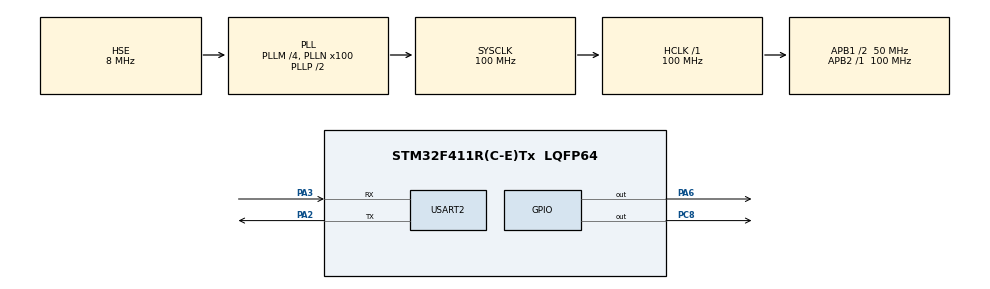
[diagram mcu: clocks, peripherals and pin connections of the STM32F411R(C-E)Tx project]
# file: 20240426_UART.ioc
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Mcu.Family=STM32F4
Mcu.Name=STM32F411R(C-E)Tx
Mcu.Package=LQFP64
NVIC.PriorityGroup=NVIC_PRIORITYGROUP_4
NVIC.USART2_IRQn=true\:0\:0\:false\:false\:true\:true\:true\:true
PA13.Mode=Serial_Wire
PA13.Signal=SYS_JTMS-SWDIO
PA14.Mode=Serial_Wire
PA14.Signal=SYS_JTCK-SWCLK
PA2.Mode=Asynchronous
PA2.Signal=USART2_TX
PA3.Mode=Asynchronous
PA3.Signal=USART2_RX
PA6.Signal=GPIO_Output
PC8.Signal=GPIO_Output
PH0\ -\ OSC_IN.Mode=HSE-External-Oscillator
PH0\ -\ OSC_IN.Signal=RCC_OSC_IN
PH1\ -\ OSC_OUT.Mode=HSE-External-Oscillator
PH1\ -\ OSC_OUT.Signal=RCC_OSC_OUT
ProjectManager.HeapSize=0x200
ProjectManager.StackSize=0x400
ProjectManager.TargetToolchain=STM32CubeIDE
RCC.48MHZClocksFreq_Value=50000000
RCC.AHBFreq_Value=100000000
RCC.APB1CLKDivider=RCC_HCLK_DIV2
RCC.APB1Freq_Value=50000000
RCC.APB1TimFreq_Value=100000000
RCC.APB2Freq_Value=100000000
RCC.APB2TimFreq_Value=100000000
RCC.CortexFreq_Value=100000000
RCC.HCLKFreq_Value=100000000
RCC.HSE_VALUE=8000000
RCC.HSI_VALUE=16000000
RCC.LSE_VALUE=32768
RCC.PLLM=4
RCC.PLLN=100
RCC.PLLSourceVirtual=RCC_PLLSOURCE_HSE
RCC.SYSCLKFreq_VALUE=100000000
RCC.SYSCLKSource=RCC_SYSCLKSOURCE_PLLCLK
RCC.VCOOutputFreq_Value=200000000
USART2.VirtualMode=VM_ASYNC
board=custom

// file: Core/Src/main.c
/* USER CODE BEGIN Header */
/**
  ******************************************************************************
  * @file           : main.c
  * @brief          : Main program body
  ******************************************************************************
  * @attention
  *
  * Copyright (c) 2024 STMicroelectronics.
  * All rights reserved.
  *
  * This software is licensed under terms that can be found in the LICENSE file
  * in the root directory of this software component.
  * If no LICENSE file comes with this software, it is provided AS-IS.
  *
  ******************************************************************************
  */
/* USER CODE END Header */
#include "main.h"

/* USER CODE BEGIN Includes */
#include <Stdio.h>
#include "../common/queue/queue.h"
/* USER CODE END Includes */

UART_HandleTypeDef huart2;

void SystemClock_Config(void);
static void MX_GPIO_Init(void);
static void MX_USART2_UART_Init(void);

/* USER CODE BEGIN 0 */
int _write(int file, char *ptr, int len)
{
  HAL_UART_Transmit(&huart2, (uint8_t *)ptr, len, 1000);
  return len;
}

uint8_t rcvData;
que_t uart2RxQue;

uint8_t rxData;

void HAL_UART_RxCpltCallback(UART_HandleTypeDef *huart){
	if (huart->Instance == USART2){
		enQue(&uart2RxQue, rcvData);
		HAL_UART_Transmit(huart, &rcvData, 1, 1000);
		HAL_UART_Receive_IT(&huart2, &rcvData, 1);
	}
}
/* USER CODE END 0 */

int main(void)
{

  /* MCU Configuration--------------------------------------------------------*/

  /* Reset of all peripherals, Initializes the Flash interface and the Systick. */
  HAL_Init();

  /* Configure the system clock */
  SystemClock_Config();

  /* Initialize all configured peripherals */
  MX_GPIO_Init();
  MX_USART2_UART_Init();
  /* USER CODE BEGIN 2 */
  printf("Hello world!\n");

  HAL_UART_Receive_IT(&huart2, &rxData, 1);
  que_init(&uart2RxQue);

  /* USER CODE END 2 */

  /* Infinite loop */
  /* USER CODE BEGIN WHILE */
  while (1)
  {

	  rxData = deQue(&uart2RxQue);
	  HAL_UART_Receive(&huart2, &rxData, 1, 0xffffffff);
	  if(rxData == '1'){
		  printf("Device1 run! \n");
		  //rcvData = 0;
	  }else if(rxData == '2'){
		  printf("Device1 stop! \n");
		  //rcvData = 0;
	  }
	  HAL_GPIO_TogglePin(GPIOC, GPIO_PIN_8);
	  HAL_Delay(300);
    /* USER CODE END WHILE */

  }
}

void SystemClock_Config(void)
{
  RCC_OscInitTypeDef RCC_OscInitStruct = {0};
  RCC_ClkInitTypeDef RCC_ClkInitStruct = {0};

  /** Configure the main internal regulator output voltage
  */
  __HAL_RCC_PWR_CLK_ENABLE();
  __HAL_PWR_VOLTAGESCALING_CONFIG(PWR_REGULATOR_VOLTAGE_SCALE1);

  /** Initializes the RCC Oscillators according to the specified parameters
  * in the RCC_OscInitTypeDef structure.
  */
  RCC_OscInitStruct.OscillatorType = RCC_OSCILLATORTYPE_HSE;
  RCC_OscInitStruct.HSEState = RCC_HSE_ON;
  RCC_OscInitStruct.PLL.PLLState = RCC_PLL_ON;
  RCC_OscInitStruct.PLL.PLLSource = RCC_PLLSOURCE_HSE;
  RCC_OscInitStruct.PLL.PLLM = 4;
  RCC_OscInitStruct.PLL.PLLN = 100;
  RCC_OscInitStruct.PLL.PLLP = RCC_PLLP_DIV2;
  RCC_OscInitStruct.PLL.PLLQ = 4;
  if (HAL_RCC_OscConfig(&RCC_OscInitStruct) != HAL_OK)
  {
    Error_Handler();
  }

  /** Initializes the CPU, AHB and APB buses clocks
  */
  RCC_ClkInitStruct.ClockType = RCC_CLOCKTYPE_HCLK|RCC_CLOCKTYPE_SYSCLK
                              |RCC_CLOCKTYPE_PCLK1|RCC_CLOCKTYPE_PCLK2;
  RCC_ClkInitStruct.SYSCLKSource = RCC_SYSCLKSOURCE_PLLCLK;
  RCC_ClkInitStruct.AHBCLKDivider = RCC_SYSCLK_DIV1;
  RCC_ClkInitStruct.APB1CLKDivider = RCC_HCLK_DIV2;
  RCC_ClkInitStruct.APB2CLKDivider = RCC_HCLK_DIV1;

  if (HAL_RCC_ClockConfig(&RCC_ClkInitStruct, FLASH_LATENCY_3) != HAL_OK)
  {
    Error_Handler();
  }
}

static void MX_USART2_UART_Init(void)
{

  huart2.Instance = USART2;
  huart2.Init.BaudRate = 115200;
  huart2.Init.WordLength = UART_WORDLENGTH_8B;
  huart2.Init.StopBits = UART_STOPBITS_1;
  huart2.Init.Parity = UART_PARITY_NONE;
  huart2.Init.Mode = UART_MODE_TX_RX;
  huart2.Init.HwFlowCtl = UART_HWCONTROL_NONE;
  huart2.Init.OverSampling = UART_OVERSAMPLING_16;
  if (HAL_UART_Init(&huart2) != HAL_OK)
  {
    Error_Handler();
  }

}

static void MX_GPIO_Init(void)
{
  GPIO_InitTypeDef GPIO_InitStruct = {0};

  /* GPIO Ports Clock Enable */
  __HAL_RCC_GPIOH_CLK_ENABLE();
  __HAL_RCC_GPIOA_CLK_ENABLE();
  __HAL_RCC_GPIOC_CLK_ENABLE();

  /*Configure GPIO pin Output Level */
  HAL_GPIO_WritePin(GPIOA, GPIO_PIN_6, GPIO_PIN_RESET);

  /*Configure GPIO pin Output Level */
  HAL_GPIO_WritePin(GPIOC, GPIO_PIN_8, GPIO_PIN_RESET);

  /*Configure GPIO pin : PA6 */
  GPIO_InitStruct.Pin = GPIO_PIN_6;
  GPIO_InitStruct.Mode = GPIO_MODE_OUTPUT_PP;
  GPIO_InitStruct.Pull = GPIO_NOPULL;
  GPIO_InitStruct.Speed = GPIO_SPEED_FREQ_LOW;
  HAL_GPIO_Init(GPIOA, &GPIO_InitStruct);

  /*Configure GPIO pin : PC8 */
  GPIO_InitStruct.Pin = GPIO_PIN_8;
  GPIO_InitStruct.Mode = GPIO_MODE_OUTPUT_PP;
  GPIO_InitStruct.Pull = GPIO_NOPULL;
  GPIO_InitStruct.Speed = GPIO_SPEED_FREQ_LOW;
  HAL_GPIO_Init(GPIOC, &GPIO_InitStruct);

}

void Error_Handler(void)
{
  __disable_irq();
  while (1)
  {
  }
}
